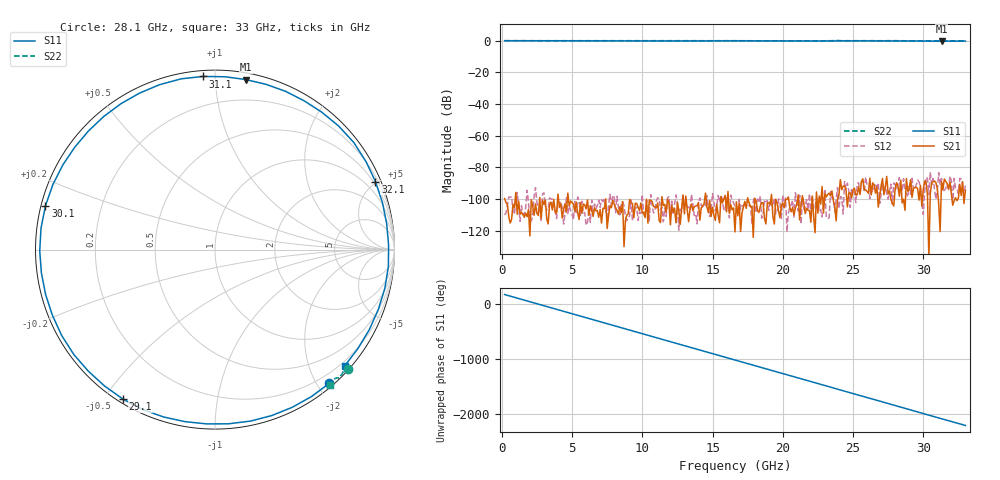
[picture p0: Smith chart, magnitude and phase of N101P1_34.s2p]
# GHZ S RI R 50
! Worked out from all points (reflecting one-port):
!   329 points, 200 MHz to 33 GHz, reference 50 ohm
!   lowest |S11| = -0.3 dB at 31.3 GHz (marker M1), VSWR 52.85, Z = 2.3 + j59.8 ohm
!   phase of S11 starts at 165 deg and turns -2367 deg over the sweep
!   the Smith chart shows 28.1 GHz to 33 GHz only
!   S11 on the Smith chart (normalised r, x): 28.1 GHz: 0.06, -2.17; 29.1 GHz: 0.01, -0.56; 30.1 GHz: 0.01, +0.13; 31.1 GHz: 0.03, +0.93; 32.1 GHz: 0.37, +4.89; 33 GHz: 0.12, -2.61
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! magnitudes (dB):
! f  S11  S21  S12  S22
! 200 MHz  0.0  -99.7  -110.2  0.0
! 5.7 GHz  -0.1  -109.1  -101.5  0.0
! 11.2 GHz  -0.2  -113.7  -99.8  0.0
! 16.6 GHz  -0.1  -120.9  -104.9  0.0
! 22.1 GHz  -0.2  -98.2  -97.6  -0.1
! 23.4 GHz  -0.1  -98.1  -95.4  0.0
! 23.6 GHz  -0.2  -101.1  -99.1  0.0
! 23.9 GHz  -0.1  -100.0  -92.8  0.1
! 24.3 GHz  -0.1  -92.0  -109.5  0.0
! 24.6 GHz  -0.2  -105.1  -90.0  0.0
! 25 GHz  -0.1  -94.3  -95.2  0.0
! 25.6 GHz  -0.2  -88.9  -89.7  0.0
! 27.6 GHz  -0.2  -95.1  -94.8  0.0
! 28.1 GHz  -0.2  -89.8  -93.5  0.0
! 28.7 GHz  -0.2  -107.2  -95.1  -0.1
! 29.1 GHz  -0.2  -87.8  -97.1  -0.1
! 30.1 GHz  -0.2  -88.6  -95.2  -0.1
! 31.1 GHz  -0.3  -103.1  -83.4  -0.2
! 31.3 GHz  -0.3  -89.1  -87.1  -0.2
! 31.9 GHz  -0.2  -89.3  -85.5  -0.2
! 32.1 GHz  -0.3  -104.0  -103.3  -0.2
! 33 GHz  -0.3  -94.6  -91.3  -0.1
